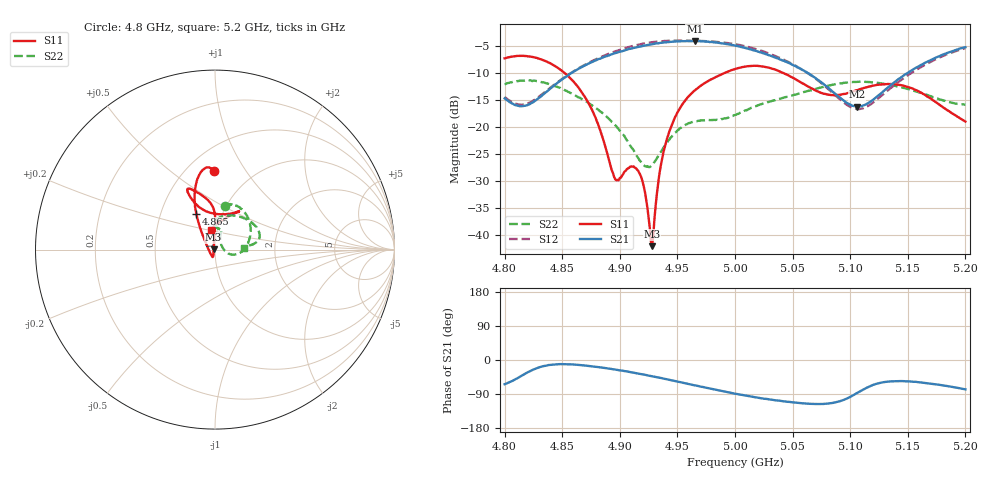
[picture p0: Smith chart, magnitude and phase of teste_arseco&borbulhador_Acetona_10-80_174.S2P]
! Network Analyzer HP8722D
! Hewlett-Packard
! Data name: Linha & Wilkinson
! Saver's name: Rodrigo Anjos
! Comments: Teste da utilização de aquisição
! continua pelo VNA HP8722D
! Time and date: 25/4/2025 16:43
!  Frequency  S11  S21  S12  S22
# HZ  S  MA R 50
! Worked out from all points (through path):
!   401 points, 4.8 GHz to 5.2 GHz, reference 50 ohm
!   highest |S21| = -3.99 dB at 4.965 GHz (marker M1); lowest = -16.2 dB at 5.106 GHz (marker M2)
!   lowest |S11| = -42.1 dB at 4.928 GHz (marker M3), VSWR 1.02, Z = 49.2 + j0.0933 ohm
!   |S11| at or under -10 dB: 4.852 GHz to 4.99 GHz (137.6 MHz wide, 2.8 % of centre); 5.043 GHz to end of sweep
!   |S22| runs from -27.4 to -11.3 dB; largest |S21 - S12| = 1.2
!   S11 on the Smith chart (normalised r, x): 4.8 GHz: 0.67, +0.72; 4.865 GHz: 0.75, +0.32; 5.2 GHz: 0.94, +0.21
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4.8e9  0.4362 90.9  0.1852 -64.0  0.1909 69.6  0.2493 77.5
4.82e9  0.4549 97.3  0.1604 -32.5  0.1664 98.3  0.2719 61.7
4.845e9  0.3623 107.6  0.2536 -11.3  0.2576 119.4  0.2389 34.8
4.865e9  0.2264 117.4  0.3523 -13.0  0.357 120.9  0.1887 11.3
4.867e9  0.2112 118.6  0.362 -13.7  0.3665 120.9  0.1831 8.9
4.88e9  0.1142 128.8  0.4214 -18.2  0.4312 118.3  0.1488 -4.8
4.896e9  0.0329 -169.6  0.488 -25.3  0.5057 113.2  0.1044 -15.5
4.91e9  0.04322 -108.8  0.5379 -32.4  0.5639 107.2  0.06503 -13.2
4.917e9  0.03749 -104.9  0.5598 -36.2  0.5872 103.6  0.04952 -0.7
4.921e9  0.02763 -109.9  0.5712 -38.7  0.5984 101.4  0.04422 12.1
4.928e9  0.007877 173.1  0.5894 -42.8  0.6153 97.2  0.04476 41.0
4.934e9  0.03451 100.3  0.6031 -46.6  0.6274 93.3  0.05552 57.2
4.939e9  0.06527 93.8  0.6135 -49.7  0.6334 90.1  0.06707 65.0
4.946e9  0.111 90.4  0.6224 -54.2  0.6371 85.8  0.08443 69.6
4.965e9  0.2194 91.5  0.6318 -66.9  0.635 73.5  0.1135 71.2
5e9  0.347 109.2  0.5713 -88.8  0.5921 50.8  0.1299 87.9
5.029e9  0.358 115.4  0.4673 -103.6  0.4867 34.3  0.1713 85.9
5.067e9  0.2279 105.5  0.3007 -115.8  0.2982 23.6  0.2219 57.2
5.106e9  0.2203 65.3  0.1556 -87.0  0.1479 55.9  0.2634 24.9
5.134e9  0.2514 57.9  0.2401 -56.6  0.2256 88.7  0.2485 12.5
5.169e9  0.1875 70.6  0.417 -61.8  0.3997 85.0  0.1954 6.9
5.2e9  0.1129 100.9  0.553 -77.6  0.5419 70.2  0.1621 3.8
